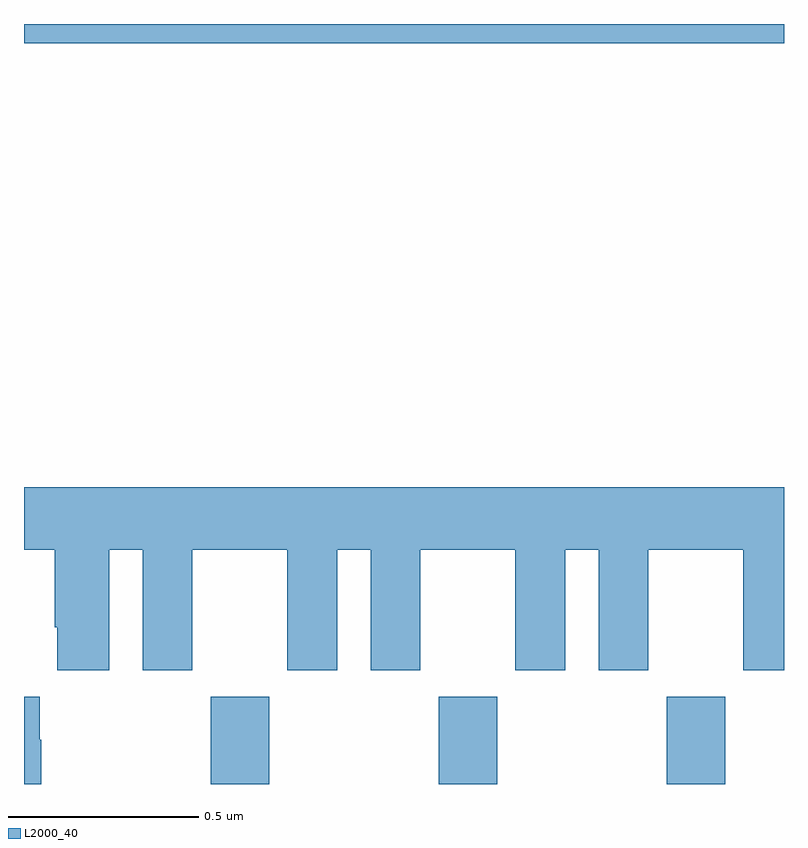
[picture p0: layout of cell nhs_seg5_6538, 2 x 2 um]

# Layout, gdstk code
import gdstk
lib = gdstk.Library(unit=1e-6, precision=1e-09)
def R(c, l, rs):  # rectangles x0, y0, x1, y1
    for r in rs: c.add(gdstk.rectangle(r[:2], r[2:], *l))
def A(c, l, x, y, w, h, nx, ny, dx, dy):  # array of equal rectangles
    R(c, l, [(x+i*dx, y+j*dy, x+i*dx+w, y+j*dy+h) for i in range(nx) for j in range(ny)])
def P(c, l, *ps):  # polygons
    for p in ps: c.add(gdstk.Polygon(p, *l))
L2000_40 = (2000, 40)

nhs_seg5_6538 = lib.new_cell('nhs_seg5_6538')
A(nhs_seg5_6538, L2000_40, 197.491, 866.799, 0.155, 0.229, 3, 1, 0.6, 0)
R(nhs_seg5_6538, L2000_40, [(197,868.748,199,868.799)])
P(nhs_seg5_6538, L2000_40, [(197,867.416),(197.081,867.416),(197.081,867.211),(197.087,867.211),(197.087,867.099),(197.224,867.099),(197.224,867.416),(197.312,867.416),(197.312,867.099),(197.443,867.099),(197.443,867.416),(197.693,867.416),(197.693,867.099),(197.824,867.099),(197.824,867.416),(197.912,867.416),(197.912,867.099),(198.043,867.099),(198.043,867.416),(198.293,867.416),(198.293,867.099),(198.424,867.099),(198.424,867.416),(198.512,867.416),(198.512,867.099),(198.643,867.099),(198.643,867.416),(198.893,867.416),(198.893,867.099),(199,867.099),(199,867.58),(197,867.58)],
  [(197.046,866.915),(197.041,866.915),(197.041,867.028),(197,867.028),(197,866.799),(197.046,866.799)])

lib.write_gds('nhs_seg5_6538.gds')
